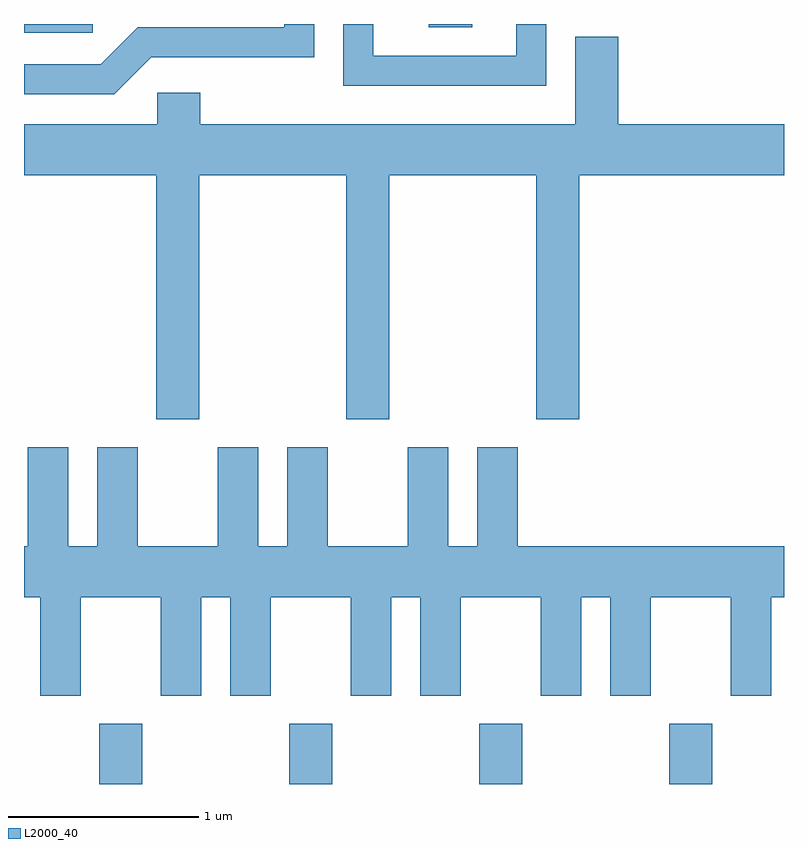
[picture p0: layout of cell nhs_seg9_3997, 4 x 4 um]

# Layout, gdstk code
import gdstk
lib = gdstk.Library(unit=1e-6, precision=1e-09)
def R(c, l, rs):  # rectangles x0, y0, x1, y1
    for r in rs: c.add(gdstk.rectangle(r[:2], r[2:], *l))
def A(c, l, x, y, w, h, nx, ny, dx, dy):  # array of equal rectangles
    R(c, l, [(x+i*dx, y+j*dy, x+i*dx+w, y+j*dy+h) for i in range(nx) for j in range(ny)])
def P(c, l, *ps):  # polygons
    for p in ps: c.add(gdstk.Polygon(p, *l))
L2000_40 = (2000, 40)

nhs_seg9_3997 = lib.new_cell('nhs_seg9_3997')
A(nhs_seg9_3997, L2000_40, 304.006, 1946.432, 0.228, 0.317, 4, 1, 1, 0)
R(nhs_seg9_3997, L2000_40, [(303.611,1950.386,303.973,1950.432), (305.741,1950.416,305.969,1950.432)])
P(nhs_seg9_3997, L2000_40, [(304.282,1950.256),(305.139,1950.256),(305.139,1950.432),(304.981,1950.432),(304.981,1950.414),(304.209,1950.414),(304.014,1950.219),(303.611,1950.219),(303.611,1950.061),(304.087,1950.061)],
  [(306.359,1950.432),(306.201,1950.432),(306.201,1950.264),(305.449,1950.264),(305.449,1950.432),(305.291,1950.432),(305.291,1950.106),(306.359,1950.106)],
  [(304.534,1949.636),(305.306,1949.636),(305.306,1948.351),(305.534,1948.351),(305.534,1949.636),(306.306,1949.636),(306.306,1948.351),(306.534,1948.351),(306.534,1949.636),(307.611,1949.636),(307.611,1949.904),(306.739,1949.904),(306.739,1950.364),(306.511,1950.364),(306.511,1949.904),(304.539,1949.904),(304.539,1950.069),(304.311,1950.069),(304.311,1949.904),(303.611,1949.904),(303.611,1949.636),(304.306,1949.636),(304.306,1948.351),(304.534,1948.351)],
  [(305.844,1948.204),(305.631,1948.204),(305.631,1947.684),(305.209,1947.684),(305.209,1948.204),(304.996,1948.204),(304.996,1947.684),(304.844,1947.684),(304.844,1948.204),(304.631,1948.204),(304.631,1947.684),(304.209,1947.684),(304.209,1948.204),(303.996,1948.204),(303.996,1947.684),(303.844,1947.684),(303.844,1948.204),(303.631,1948.204),(303.631,1947.684),(303.611,1947.684),(303.611,1947.416),(303.696,1947.416),(303.696,1946.896),(303.909,1946.896),(303.909,1947.416),(304.331,1947.416),(304.331,1946.896),(304.544,1946.896),(304.544,1947.416),(304.696,1947.416),(304.696,1946.896),(304.909,1946.896),(304.909,1947.416),(305.331,1947.416),(305.331,1946.896),(305.544,1946.896),(305.544,1947.416),(305.696,1947.416),(305.696,1946.896),(305.909,1946.896),(305.909,1947.416),(306.331,1947.416),(306.331,1946.896),(306.544,1946.896),(306.544,1947.416),(306.696,1947.416),(306.696,1946.896),(306.909,1946.896),(306.909,1947.416),(307.331,1947.416),(307.331,1946.896),(307.544,1946.896),(307.544,1947.416),(307.611,1947.416),(307.611,1947.684),(306.209,1947.684),(306.209,1948.204),(305.996,1948.204),(305.996,1947.684),(305.844,1947.684)])

lib.write_gds('nhs_seg9_3997.gds')
